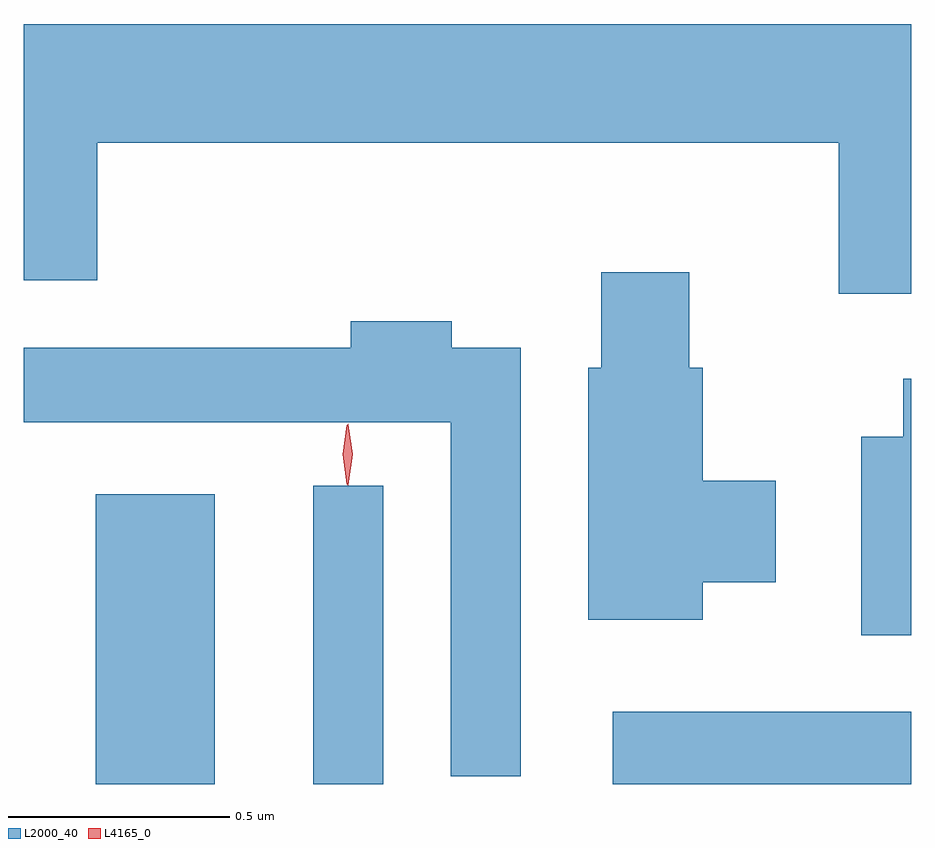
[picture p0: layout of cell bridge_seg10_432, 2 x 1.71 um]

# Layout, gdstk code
import gdstk
lib = gdstk.Library(unit=1e-6, precision=1e-09)
def R(c, l, rs):  # rectangles x0, y0, x1, y1
    for r in rs: c.add(gdstk.rectangle(r[:2], r[2:], *l))
def P(c, l, *ps):  # polygons
    for p in ps: c.add(gdstk.Polygon(p, *l))
L2000_40 = (2000, 40)
L4165_0 = (4165, 0)

bridge_seg10_432 = lib.new_cell('bridge_seg10_432')
R(bridge_seg10_432, L2000_40, [(1414.806,2114.691,1415.074,2115.344), (1415.296,2114.691,1415.454,2115.363), (1415.971,2114.691,1416.644,2114.854)])
P(bridge_seg10_432, L2000_40, [(1416.644,2116.404),(1414.644,2116.404),(1414.644,2115.826),(1414.809,2115.826),(1414.809,2116.136),(1416.481,2116.136),(1416.481,2115.796),(1416.644,2115.796)],
  [(1416.174,2115.146),(1416.339,2115.146),(1416.339,2115.374),(1416.174,2115.374),(1416.174,2115.629),(1416.144,2115.629),(1416.144,2115.844),(1415.946,2115.844),(1415.946,2115.629),(1415.916,2115.629),(1415.916,2115.061),(1416.174,2115.061)],
  [(1415.764,2115.674),(1415.609,2115.674),(1415.609,2115.734),(1415.381,2115.734),(1415.381,2115.674),(1414.644,2115.674),(1414.644,2115.506),(1415.606,2115.506),(1415.606,2114.708),(1415.764,2114.708)],
  [(1416.644,2115.604),(1416.626,2115.604),(1416.626,2115.474),(1416.531,2115.474),(1416.531,2115.026),(1416.644,2115.026)])
P(bridge_seg10_432, L4165_0, [(1415.372,2115.367),(1415.363,2115.434),(1415.372,2115.5),(1415.373,2115.5),(1415.373,2115.5),(1415.383,2115.434),(1415.373,2115.367),(1415.373,2115.367)],
  [(1415.374,2115.364),(1415.365,2115.434),(1415.374,2115.502),(1415.375,2115.503),(1415.375,2115.502),(1415.385,2115.434),(1415.375,2115.364),(1415.375,2115.364)])

lib.write_gds('bridge_seg10_432.gds')
